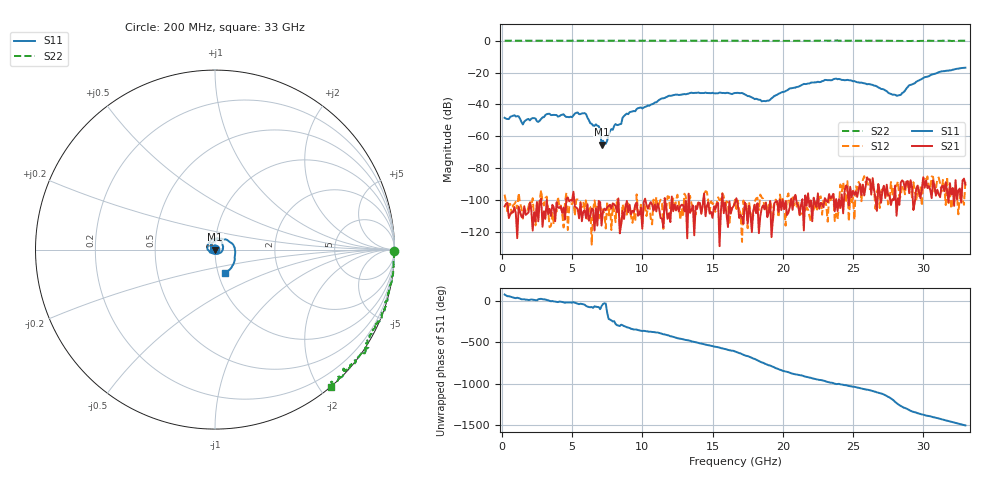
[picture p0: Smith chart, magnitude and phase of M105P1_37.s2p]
# GHZ S RI R 50
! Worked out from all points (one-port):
!   329 points, 200 MHz to 33 GHz, reference 50 ohm
!   lowest |S11| = -65.2 dB at 7.1 GHz (marker M1), VSWR 1.00, Z = 50 - j0.0485 ohm
!   |S11| at or under -10 dB: start of sweep to end of sweep
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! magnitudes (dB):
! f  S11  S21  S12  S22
! 200 MHz  -48.4  -103.9  -96.5  0.0
! 1.2 GHz  -47.4  -104.1  -95.5  0.0
! 1.5 GHz  -52.5  -111.0  -111.6  0.0
! 3.3 GHz  -45.9  -108.9  -106.0  0.0
! 5.7 GHz  -45.6  -113.2  -104.4  0.0
! 6.9 GHz  -53.6  -100.5  -111.5  0.0
! 7 GHz  -55.9  -101.2  -102.6  0.0
! 7.1 GHz  -65.2  -115.9  -106.0  0.0
! 7.4 GHz  -64.7  -106.4  -117.7  0.0
! 7.8 GHz  -55.4  -105.2  -118.7  0.0
! 8.5 GHz  -52.2  -115.0  -114.9  0.0
! 8.8 GHz  -46.4  -104.6  -102.7  0.0
! 11.2 GHz  -37.1  -105.3  -102.0  0.0
! 13.5 GHz  -32.6  -106.2  -102.0  0.0
! 16.6 GHz  -32.8  -101.9  -99.7  -0.1
! 18.8 GHz  -37.9  -101.4  -104.1  -0.1
! 22.1 GHz  -26.2  -113.2  -106.2  -0.1
! 24.6 GHz  -24.6  -91.6  -88.0  0.0
! 27.6 GHz  -33.1  -97.2  -100.7  -0.1
! 28.4 GHz  -34.0  -88.9  -97.5  0.0
! 30.1 GHz  -22.9  -92.2  -86.5  0.0
! 33 GHz  -17.0  -90.2  -88.2  0.0
